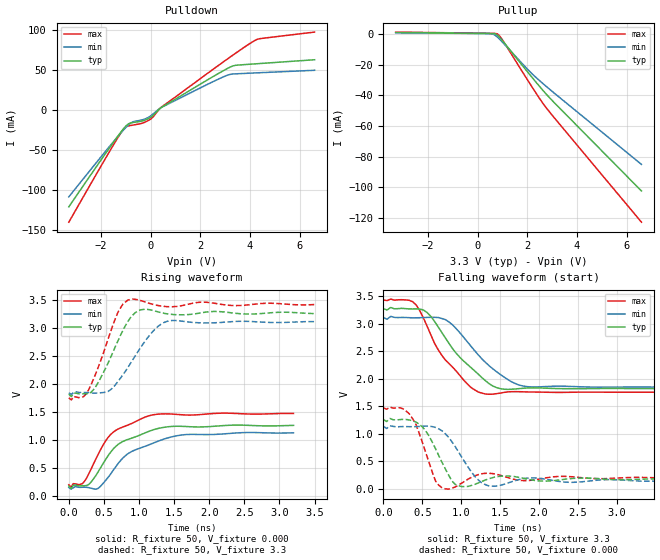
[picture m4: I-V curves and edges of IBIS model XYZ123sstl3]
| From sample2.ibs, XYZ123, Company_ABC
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|   Model XYZ123sstl3
[Model]   XYZ123sstl3
Model_type   Output
Polarity   Non-Inverting
Vmeas   = 0.8V
Cref   = 0pF
Vref   = 0V
Rref   = 50ohms
C_comp   1.6pF   NA   NA
[Temperature Range]   50   125   0
[Voltage Range]   3.3V   3.135V   3.465V
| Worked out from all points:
|   slope of the pulldown table from 0 to 0.495 V, typ, clamps not added: 36.5 ohm
|   slope of the pullup table from 0 to 0.495 V, typ, clamps not added: 5.86 kohm
|   rising waveform, R_fixture 50, V_fixture 0.000: 20-80 % time 522ps typ, 612ps min, 437ps max; typ from 0.179 V to 1.26 V
|   rising waveform, R_fixture 50, V_fixture 3.3: 20-80 % time 324ps typ, 413ps min, 286ps max; typ from 1.82 V to 3.26 V
|   falling waveform, R_fixture 50, V_fixture 3.3: 20-80 % time 513ps typ, 515ps min, 448ps max; typ from 3.27 V to 1.82 V
|   falling waveform, R_fixture 50, V_fixture 0.000: 20-80 % time 238ps typ, 275ps min, 193ps max; typ from 1.26 V to 0.176 V
[Pulldown]
| voltage   I(typ)   I(min)   I(max)
-3.3V     -120.6mA   -108.1mA   -139.8mA
-1.5V     -39.77mA   -39.09mA   -43.05mA
-1.2V     -27.07mA   -28.13mA   -28.07mA
-1V       -19.5mA    -21.27mA   -20.52mA
-700mV    -15.13mA   -14.07mA   -18.27mA
-300mV    -12.83mA   -11.44mA   -15.56mA
0V        -8.594mA   -6.812mA   -10.85mA
400mV     3.09mA     3.201mA    3.404mA
2.7V      45.68mA    38.75mA    55.63mA
3.3V      55.5mA     45.5mA     68.92mA
4.3V      58.4mA     46.98mA    89.01mA
6.6V      63.34mA    50.16mA    97.93mA
[Pullup]
| voltage   I(typ)   I(min)   I(max)
-3.3V     1.124mA    968.5uA    1.405mA
500mV     476.6uA    383.5uA    615.6uA
600mV     454.5uA    203.6uA    594.7uA
700mV     305.2uA    -594.1uA   566uA
800mV     -639.3uA   -1.943mA   231.7uA
1V        -4.181mA   -5.196mA   -3.713mA
2.1V      -26.41mA   -24.37mA   -32.16mA
2.7V      -37.99mA   -33.22mA   -46.73mA
6.6V      -102.5mA   -85.11mA   -122.9mA
| variable   typ   min   max
[Ramp]
dV/dt_r  0.650632V/0.522363ns   0.5876V/0.611568ns   0.764868V/0.437376ns
dV/dt_f  0.87018V/0.51261ns   0.75918V/0.5145ns   1.00428V/0.447923ns
R_load   = 50
[Rising Waveform]
R_fixture   = 50
V_fixture   = 0.000
V_fixture_min   = 0.000
V_fixture_max   = 0.000
|  time   V(typ)   V(min)   V(max)
0s        178.5mV    150.7mV    201.2mV
192ps     183.3mV    156.5mV    220.1mV
288ps     209.9mV    147.9mV    405.6mV
416ps     429.7mV    134.3mV    740.5mV
576ps     751.2mV    359.7mV    1.073V
704ps     925.2mV    584.4mV    1.199V
832ps     1.008V     748.1mV    1.264V
1.12ns    1.146V     905mV      1.426V
1.664ns   1.243V     1.098V     1.449V
3.2ns     1.263V     1.13V      1.476V
[Rising Waveform]
R_fixture   = 50
V_fixture   = 3.3
V_fixture_min   = 3.135
V_fixture_max   = 3.465
|  time   V(typ)   V(min)   V(max)
0s        1.822V     1.846V     1.756V
210ps     1.828V     1.851V     1.777V
350ps     1.899V     1.839V     2.085V
560ps     2.381V     1.87V      2.808V
700ps     2.775V     2.048V     3.285V
840ps     3.116V     2.296V     3.502V
1.015ns   3.326V     2.64V      3.498V
1.225ns   3.308V     2.98V      3.419V
1.4ns     3.258V     3.123V     3.386V
3.5ns     3.261V     3.119V     3.424V
[Falling Waveform]
R_fixture   = 50
V_fixture   = 3.3
V_fixture_min   = 3.135
V_fixture_max   = 3.465
|  time   V(typ)   V(min)   V(max)
0s        3.272V     3.112V     3.429V
376ps     3.267V     3.106V     3.399V
564ps     3.2V       3.113V     2.947V
658ps     3.041V     3.114V     2.643V
799ps     2.736V     3.072V     2.338V
1.128ns   2.201V     2.588V     1.839V
1.316ns   1.96V      2.293V     1.722V
1.504ns   1.819V     2.078V     1.74V
1.833ns   1.831V     1.859V     1.761V
4.7ns     1.822V     1.846V     1.756V
[Falling Waveform]
R_fixture   = 50
V_fixture   = 0.000
V_fixture_min   = 0.000
V_fixture_max   = 0.000
|  time   V(typ)   V(min)   V(max)
0s        1.26V      1.135V     1.472V
336ps     1.252V     1.13V      1.357V
504ps     1.122V     1.138V     835.1mV
672ps     726.7mV    1.115V     140.5mV
798ps     361.1mV    999mV      1.749mV
1.008ns   42.3mV     577mV      106.5mV
1.176ns   83.05mV    227.8mV    239.2mV
1.344ns   179.4mV    59.99mV    285.9mV
1.89ns    168mV      199.4mV    155.9mV
4.2ns     175.8mV    149.6mV    204.1mV
